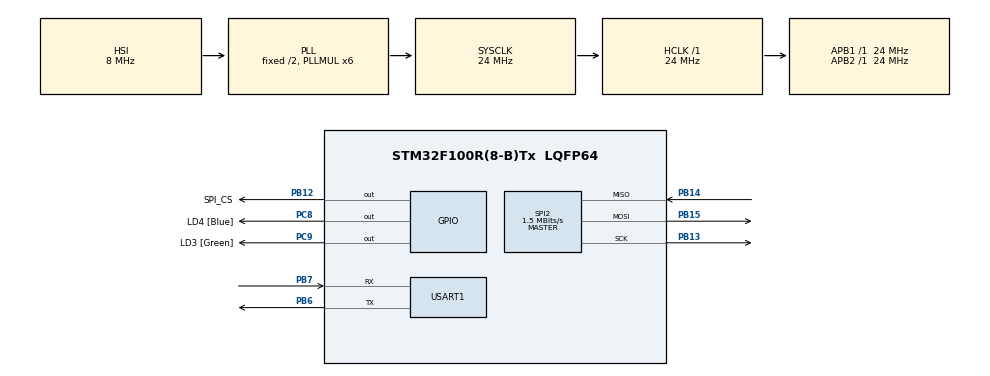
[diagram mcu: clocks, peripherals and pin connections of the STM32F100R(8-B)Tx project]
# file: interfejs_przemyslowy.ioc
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Mcu.Family=STM32F1
Mcu.Name=STM32F100R(8-B)Tx
Mcu.Package=LQFP64
NVIC.PriorityGroup=NVIC_PRIORITYGROUP_4
NVIC.TIM2_IRQn=true\:0\:0\:false\:false\:true\:true\:true\:true
NVIC.USART1_IRQn=true\:0\:0\:false\:false\:true\:true\:true\:true
PA0-WKUP.Mode=SYS_WakeUp0
PA0-WKUP.Signal=SYS_WKUP
PA13.GPIO_Label=TMS_SWDIO
PA13.Mode=Serial_Wire
PA13.Signal=SYS_JTMS-SWDIO
PA14.GPIO_Label=TCK_SWCLK
PA14.Mode=Serial_Wire
PA14.Signal=SYS_JTCK-SWCLK
PB12.GPIO_Label=SPI_CS
PB12.GPIO_PuPd=GPIO_NOPULL
PB12.GPIO_Speed=GPIO_SPEED_FREQ_HIGH
PB12.PinState=GPIO_PIN_SET
PB12.Signal=GPIO_Output
PB13.Mode=Full_Duplex_Master
PB13.Signal=SPI2_SCK
PB14.Mode=Full_Duplex_Master
PB14.Signal=SPI2_MISO
PB15.Mode=Full_Duplex_Master
PB15.Signal=SPI2_MOSI
PB6.Mode=Asynchronous
PB6.Signal=USART1_TX
PB7.Mode=Asynchronous
PB7.Signal=USART1_RX
PC14-OSC32_IN.Mode=LSE-External-Oscillator
PC14-OSC32_IN.Signal=RCC_OSC32_IN
PC15-OSC32_OUT.Mode=LSE-External-Oscillator
PC15-OSC32_OUT.Signal=RCC_OSC32_OUT
PC8.GPIO_Label=LD4 [Blue]
PC8.Signal=GPIO_Output
PC9.GPIO_Label=LD3 [Green]
PC9.Signal=GPIO_Output
PD0-OSC_IN.Mode=HSE-External-Oscillator
PD0-OSC_IN.Signal=RCC_OSC_IN
PD1-OSC_OUT.Mode=HSE-External-Oscillator
PD1-OSC_OUT.Signal=RCC_OSC_OUT
ProjectManager.HeapSize=0x200
ProjectManager.StackSize=0x400
ProjectManager.TargetToolchain=STM32CubeIDE
RCC.AHBFreq_Value=24000000
RCC.APB1Freq_Value=24000000
RCC.APB1TimFreq_Value=24000000
RCC.APB2Freq_Value=24000000
RCC.APB2TimFreq_Value=24000000
RCC.HCLKFreq_Value=24000000
RCC.PLLMUL=RCC_PLL_MUL6
RCC.SYSCLKFreq_VALUE=24000000
RCC.SYSCLKSource=RCC_SYSCLKSOURCE_PLLCLK
SPI2.BaudRatePrescaler=SPI_BAUDRATEPRESCALER_16
SPI2.CLKPhase=SPI_PHASE_2EDGE
SPI2.CLKPolarity=SPI_POLARITY_HIGH
SPI2.CalculateBaudRate=1.5 MBits/s
SPI2.Direction=SPI_DIRECTION_2LINES
SPI2.Mode=SPI_MODE_MASTER
SPI2.VirtualType=VM_MASTER
TIM2.Period=99
TIM2.Prescaler=239
USART1.VirtualMode=VM_ASYNC
VP_TIM2_VS_ClockSourceINT.Mode=Internal
board=STM32VLDISCOVERY

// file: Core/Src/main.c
/* USER CODE BEGIN Header */
/**
  ******************************************************************************
  * @file           : main.c
  * @brief          : Main program body
  ******************************************************************************
  * @attention
  *
  * Copyright (c) 2022 STMicroelectronics.
  * All rights reserved.
  *
  * This software is licensed under terms that can be found in the LICENSE file
  * in the root directory of this software component.
  * If no LICENSE file comes with this software, it is provided AS-IS.
  *
  ******************************************************************************
  */
/* USER CODE END Header */
#include "main.h"
#include "spi.h"
#include "tim.h"
#include "usart.h"
#include "gpio.h"

/* USER CODE BEGIN Includes */
#include <stdio.h>
#include <string.h>
#include "uart_lib.h"
/* USER CODE END Includes */

/* USER CODE BEGIN PV */
uint8_t pageset,flag;
uint16_t counter;
/* USER CODE END PV */

void SystemClock_Config(void);
/* USER CODE BEGIN PFP */
void odczyt_spi(uint8_t adres, uint8_t *dane);
void zapis_spi(uint8_t adres, uint8_t dane);
/* USER CODE END PFP */

/* USER CODE BEGIN 0 */

void HAL_TIM_PeriodElapsedCallback(TIM_HandleTypeDef *htim)
{
	if(htim->Instance == TIM2)//10ms
	{
		error_void_uart_next(1);
		counter++;
		if(counter>999)
		{
			counter=0;
			flag=1;
		}
	}
}
/* USER CODE END 0 */

int main(void)
{

  /* MCU Configuration--------------------------------------------------------*/

  /* Reset of all peripherals, Initializes the Flash interface and the Systick. */
  HAL_Init();

  /* Configure the system clock */
  SystemClock_Config();

  /* Initialize all configured peripherals */
  MX_GPIO_Init();
  MX_USART1_UART_Init();
  MX_SPI2_Init();
  MX_TIM2_Init();
  /* USER CODE BEGIN 2 */
  uint8_t tx_buffer[64];
  uint16_t size = 0;
  uint8_t bufor_lsb;
  uint8_t bufor_msb;
  uint16_t raw=0;
  double Temp;
  char cels=248;

  HAL_TIM_Base_Start_IT(&htim2);

  write_next_init();

  zapis_spi(0x80,0b11110011);	//zapis do rejestru configuration

  /* USER CODE END 2 */

  /* Infinite loop */
  /* USER CODE BEGIN WHILE */
  while (1)
  {
	  uint16_t t_main,t_modulo;

	  odczyt_spi(0x02,&bufor_lsb);
	  odczyt_spi(0x01,&bufor_msb);
	  raw = (bufor_lsb>>1) + (bufor_msb << 7);

	  if(flag==1)
	  {
	  	  Temp=(((double)raw*10)/32)-2380;
	  	  t_main=((uint16_t)Temp)/10;
	  	  t_modulo=((uint16_t)Temp)%10;
	  	  flag=0;
	  }
//	  size = sprintf((char*)tx_buffer, "%3.1f%cC\n", Temp, cels);
//	  //HAL_UART_Transmit(&huart1, tx_buffer, size, 1000);
//	  HAL_Delay(400);

	  uint8_t max_val=3;
	  write_next_val("pageset.val=", pageset ,     0, max_val);
	  write_next_val("n0.val=", t_main,     1, max_val);
	  write_next_val("n1.val=", t_modulo,     2, max_val);
	  write_next_val("j0.val=", Temp/10,     3, max_val);

    /* USER CODE END WHILE */

  }
}

void SystemClock_Config(void)
{
  RCC_OscInitTypeDef RCC_OscInitStruct = {0};
  RCC_ClkInitTypeDef RCC_ClkInitStruct = {0};

  /** Initializes the RCC Oscillators according to the specified parameters
  * in the RCC_OscInitTypeDef structure.
  */
  RCC_OscInitStruct.OscillatorType = RCC_OSCILLATORTYPE_HSI;
  RCC_OscInitStruct.HSIState = RCC_HSI_ON;
  RCC_OscInitStruct.HSICalibrationValue = RCC_HSICALIBRATION_DEFAULT;
  RCC_OscInitStruct.PLL.PLLState = RCC_PLL_ON;
  RCC_OscInitStruct.PLL.PLLSource = RCC_PLLSOURCE_HSI_DIV2;
  RCC_OscInitStruct.PLL.PLLMUL = RCC_PLL_MUL6;
  if (HAL_RCC_OscConfig(&RCC_OscInitStruct) != HAL_OK)
  {
    Error_Handler();
  }

  /** Initializes the CPU, AHB and APB buses clocks
  */
  RCC_ClkInitStruct.ClockType = RCC_CLOCKTYPE_HCLK|RCC_CLOCKTYPE_SYSCLK
                              |RCC_CLOCKTYPE_PCLK1|RCC_CLOCKTYPE_PCLK2;
  RCC_ClkInitStruct.SYSCLKSource = RCC_SYSCLKSOURCE_PLLCLK;
  RCC_ClkInitStruct.AHBCLKDivider = RCC_SYSCLK_DIV1;
  RCC_ClkInitStruct.APB1CLKDivider = RCC_HCLK_DIV1;
  RCC_ClkInitStruct.APB2CLKDivider = RCC_HCLK_DIV1;

  if (HAL_RCC_ClockConfig(&RCC_ClkInitStruct, FLASH_LATENCY_0) != HAL_OK)
  {
    Error_Handler();
  }
}

/* USER CODE BEGIN 4 */
void odczyt_spi(uint8_t adres, uint8_t *dane)
{
    HAL_GPIO_WritePin(SPI_CS_GPIO_Port,SPI_CS_Pin,GPIO_PIN_RESET);
    HAL_SPI_Transmit(&hspi2, &adres, 1, 100);
    HAL_SPI_Receive(&hspi2, dane, 1, 100);
    HAL_GPIO_WritePin(SPI_CS_GPIO_Port,SPI_CS_Pin,GPIO_PIN_SET);
}
void zapis_spi(uint8_t adres, uint8_t dane)
{
	HAL_GPIO_WritePin(SPI_CS_GPIO_Port,SPI_CS_Pin,GPIO_PIN_RESET);
	HAL_SPI_Transmit(&hspi2, &adres, 1, 100);
	HAL_SPI_Transmit(&hspi2, &dane, 1, 100);
	HAL_GPIO_WritePin(SPI_CS_GPIO_Port,SPI_CS_Pin,GPIO_PIN_SET);
}
/* USER CODE END 4 */

void Error_Handler(void)
{
  __disable_irq();
  while (1)
  {
  }
}
